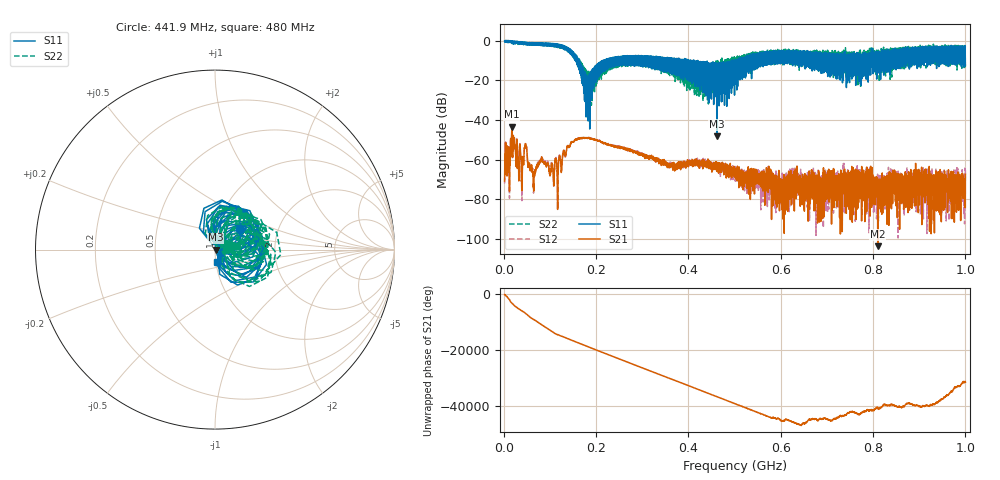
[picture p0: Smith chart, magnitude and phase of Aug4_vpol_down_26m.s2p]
!Keysight Technologies N9923A: A.12.45
!Date: Tuesday, 05 August 2025 20:50:12
!Timezone: (UTC+08:00) Kuala Lumpur, Singapore
!Model: N9923A
!Serial: MY61181427
!GPS Latitude:
!GPS Longitude:
!GPS TimeStamp: 0001-01-01 00:00:00Z
!GPS Seconds Since Last Read: 0
!CHECKSUM:1523626930
!Correction: S11(ON U)S21(ON U)S12(ON U)S22(ON U)
!S2P File: Measurements:S11,S21,S12,S22:
# Hz S DB R 50
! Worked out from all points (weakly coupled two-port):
!   4001 points, 2 MHz to 1 GHz, reference 50 ohm
!   highest |S21| = -43.43 dB at 17.72 MHz (marker M1); lowest = -103.8 dB at 810.1 MHz (marker M2)
!   lowest |S11| = -48.2 dB at 461.6 MHz (marker M3), VSWR 1.01, Z = 50.4 - j0.0792 ohm
!   |S11| at or under -10 dB: 162.9 MHz to 215.5 MHz (52.66 MHz wide, 27.8 % of centre); 412.2 MHz to 420.4 MHz (8.171 MHz wide, 1.96 % of centre); 420.7 MHz to 494 MHz (73.33 MHz wide, 16 % of centre)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
!   |S22| runs from -34.8 to 0.1 dB; largest |S21 - S12| = 0.0011
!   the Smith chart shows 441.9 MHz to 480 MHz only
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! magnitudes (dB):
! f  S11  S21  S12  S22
! 2 MHz  -0.1  -70.8  -72.0  -0.1
! 17.72 MHz  -1.3  -43.4  -43.3  -1.3
! 35.93 MHz  -1.5  -55.3  -55.1  -1.6
! 46.91 MHz  -0.7  -51.9  -52.1  -1.0
! 64.38 MHz  -1.8  -74.2  -72.0  -1.8
! 82.59 MHz  -1.5  -59.4  -59.5  -1.5
! 112.3 MHz  -1.6  -59.7  -59.1  -2.0
! 146 MHz  -4.7  -51.0  -51.3  -4.8
! 168.4 MHz  -18.9  -49.2  -49.3  -16.4
! 183.1 MHz  -40.5  -49.1  -49.0  -23.2
! 229 MHz  -8.8  -52.9  -52.7  -9.7
! 334.8 MHz  -8.1  -60.7  -60.4  -10.2
! 461.6 MHz  -48.2  -64.5  -62.5  -21.4
! 501 MHz  -9.8  -66.7  -63.5  -9.0
! 601.3 MHz  -6.2  -76.9  -71.1  -10.4
! 667.4 MHz  -6.2  -78.4  -68.3  -6.7
! 687.4 MHz  -5.9  -91.2  -77.8  -12.8
! 769.7 MHz  -8.2  -71.3  -65.2  -16.3
! 810.1 MHz  -7.1  -103.8  -80.1  -15.7
! 833.8 MHz  -6.2  -67.2  -68.9  -13.7
! 963.3 MHz  -5.1  -65.2  -85.2  -8.1
! 1 GHz  -12.6  -67.4  -65.4  -3.9
